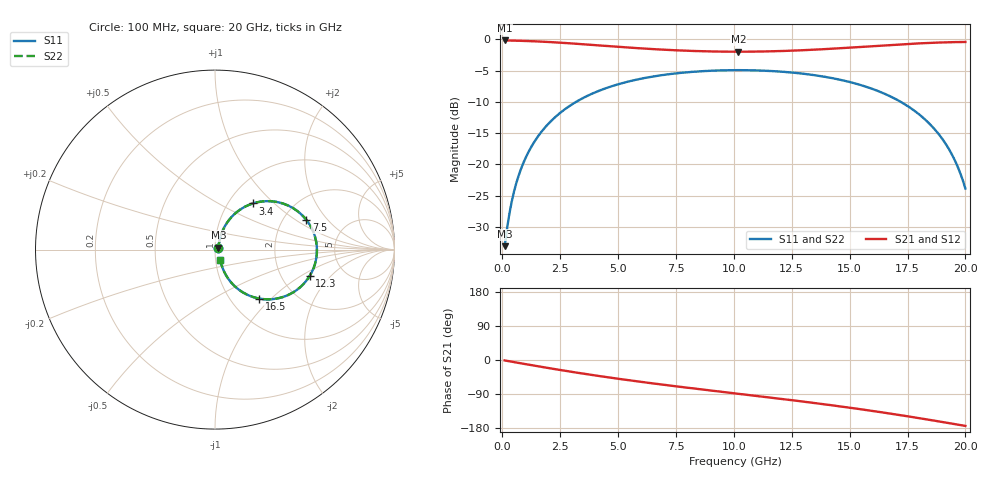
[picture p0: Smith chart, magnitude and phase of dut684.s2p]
! Touchstone file exported from HFSS 2026.1.0
!  File:  C:/ffzhzh/LocalFiles/Ansys_Project_Files/temp_train_TSV_RDL_684_1783134232_53076.aedt
!  Generated:  11:16:32 AM Jul  4, 2026
!  Design:  TSV_RDL
!  Project:  temp_train_TSV_RDL_684_1783134232_53076
! Variables:
!  h_bsmrdl = 2.37um
!  h_ox = 20um
!  h_rdl = 5um
!  h_sub = 59.53um
!  h_tmrdl = 5.98um
!  h_tsv = 59.53um
!  h_via = 3um
!  l_bsmrdl = 280.71um
!  l_sub = 3088.57um
!  l_tmrdl = 434.37um
!  m_sub = 200um
!  pitch = 42.7um
!  r_tsv = 2.82um
!  s_tmrdl = 10um
!  w_bsmrdl = 19.13um
!  w_sub = 500um
!  w_tmrdl = 17.19um
!  x_tsv_center1 = 442.965um
!  x_tsv_center2 = 742.805um
!  x_tsv_center3 = 1194.365um
!  x_tsv_center4 = 1494.205um
!  x_tsv_center5 = 1945.765um
!  x_tsv_center6 = 2245.605um
# GHz S MA R 50.000000
! Terminal data exported
! Port[1] = TM_RDL1_1_T1
! Port[2] = TM_RDL5_1_T1
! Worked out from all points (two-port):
!   200 points, 100 MHz to 20 GHz, reference 50 ohm
!   highest |S21| = -0.17 dB at 100 MHz (marker M1); lowest = -2.0 dB at 10.2 GHz (marker M2)
!   |S21| within 3 dB of the highest: start of sweep to end of sweep
!   lowest |S11| = -33.1 dB at 100 MHz (marker M3), VSWR 1.05, Z = 51.9 + j1.18 ohm
!   |S11| at or under -10 dB: start of sweep to 3.181 GHz; 17.22 GHz to end of sweep
!   |S22| runs from -33.1 to -4.9 dB; largest |S21 - S12| = 1.5e-13
!   S11 on the Smith chart (normalised r, x): 100 MHz: 1.04, +0.02; 3.4 GHz: 1.29, +0.75; 7.5 GHz: 2.65, +1.24; 12.3 GHz: 2.86, -1.20; 16.5 GHz: 1.35, -0.85; 20 GHz: 1.05, -0.12
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0.1  0.02223 30.7  0.981 -1.1  0.981 -1.1  0.02223 30.7
! Gamma 0 0 0 0
! Port Impedance 50 0 50 0
0.3  0.03977 56.9  0.9796 -3.3  0.9796 -3.3  0.03977 56.9
0.5  0.06011 64.5  0.9778 -5.5  0.9778 -5.5  0.06011 64.5
0.8  0.09136 67.8  0.9746 -8.7  0.9746 -8.7  0.09136 67.8
1.1  0.1226 67.8  0.9706 -11.9  0.9706 -11.9  0.1226 67.8
2.1  0.2221 61.6  0.9515 -22.3  0.9515 -22.3  0.2221 61.6
3.4  0.3333 50.6  0.9175 -35.1  0.9175 -35.1  0.3333 50.6
3.5  0.3409 49.7  0.9146 -36.0  0.9146 -36.0  0.3409 49.7
5  0.4376 37.2  0.8727 -49.5  0.8727 -49.5  0.4376 37.2
6.8  0.515 23.2  0.8307 -64.1  0.8307 -64.1  0.515 23.2
7.5  0.5351 18.1  0.8185 -69.4  0.8185 -69.4  0.5351 18.1
10.1  0.568 -0.2  0.7975 -88.4  0.7975 -88.4  0.5679 -0.2
10.2  0.568 -0.8  0.7974 -89.2  0.7974 -89.2  0.568 -0.8
12.3  0.5478 -15.5  0.8103 -104.5  0.8103 -104.5  0.5478 -15.5
13.4  0.5203 -23.5  0.8266 -112.9  0.8266 -112.9  0.5203 -23.5
15  0.4567 -35.7  0.8595 -125.8  0.8595 -125.8  0.4567 -35.7
16.5  0.3685 -47.8  0.8959 -139.1  0.8959 -139.1  0.3685 -47.8
16.7  0.3546 -49.4  0.9008 -140.9  0.9008 -140.9  0.3545 -49.4
17.9  0.2604 -59.2  0.9277 -152.4  0.9277 -152.4  0.2604 -59.2
18.8  0.1793 -65.5  0.9432 -161.5  0.9432 -161.5  0.1793 -65.5
19.5  0.1122 -67.6  0.9511 -168.7  0.9511 -168.7  0.1122 -67.6
20  0.06418 -62.5  0.9539 -173.9  0.9539 -173.9  0.06417 -62.5
